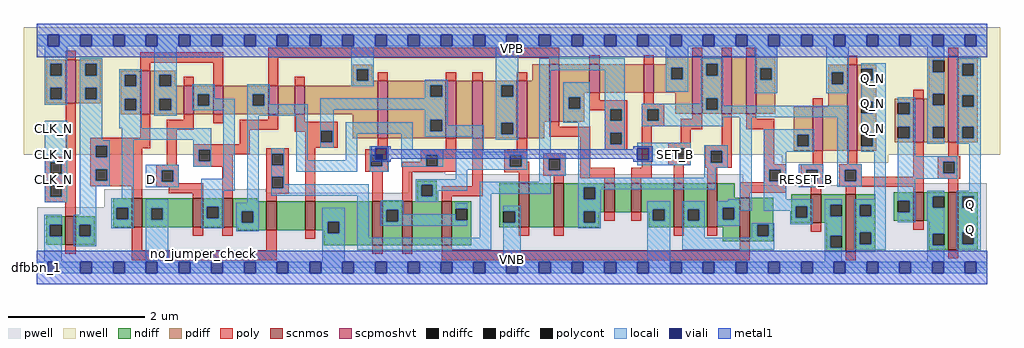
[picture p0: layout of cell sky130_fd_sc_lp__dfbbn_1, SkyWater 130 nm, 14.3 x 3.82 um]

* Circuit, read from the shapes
.subckt sky130_fd_sc_lp__dfbbn_1 CLK_N D RESET_B SET_B VGND VNB VPB VPWR Q Q_N
XM1 n1 CLK_N VGND VNB sky130_fd_pr__nfet_01v8 w=0.42 l=0.15
XM2 VGND n1 n2 VNB sky130_fd_pr__nfet_01v8 w=0.42 l=0.15
XM3 n3 D VGND VNB sky130_fd_pr__nfet_01v8 w=0.42 l=0.15
XM4 n4 n2 n3 VNB sky130_fd_pr__nfet_01v8 w=0.42 l=0.15
XM5 n5 n1 n4 VNB sky130_fd_pr__nfet_01v8 w=0.42 l=0.15
XM6 VGND n6 n5 VNB sky130_fd_pr__nfet_01v8 w=0.42 l=0.15
XM7 n7 SET_B VGND VNB sky130_fd_pr__nfet_01v8 w=0.64 l=0.15
XM8 n6 n4 n7 VNB sky130_fd_pr__nfet_01v8 w=0.64 l=0.15
XM9 n7 n8 n6 VNB sky130_fd_pr__nfet_01v8 w=0.64 l=0.15
XM10 n9 n6 VGND VNB sky130_fd_pr__nfet_01v8 w=0.64 l=0.15
XM11 n10 n1 n9 VNB sky130_fd_pr__nfet_01v8 w=0.64 l=0.15
XM12 n11 n2 n10 VNB sky130_fd_pr__nfet_01v8 w=0.42 l=0.15
XM13 VGND n12 n11 VNB sky130_fd_pr__nfet_01v8 w=0.42 l=0.15
XM14 n13 SET_B VGND VNB sky130_fd_pr__nfet_01v8 w=0.64 l=0.15
XM15 n12 n10 n13 VNB sky130_fd_pr__nfet_01v8 w=0.64 l=0.15
XM16 n13 n8 n12 VNB sky130_fd_pr__nfet_01v8 w=0.64 l=0.15
XM17 VGND RESET_B n8 VNB sky130_fd_pr__nfet_01v8 w=0.42 l=0.15
XM18 Q_N n12 VGND VNB sky130_fd_pr__nfet_01v8 w=0.84 l=0.15
XM19 VGND n12 n14 VNB sky130_fd_pr__nfet_01v8 w=0.42 l=0.15
XM20 Q n14 VGND VNB sky130_fd_pr__nfet_01v8 w=0.84 l=0.15
XM21 n1 CLK_N VPWR VPB sky130_fd_pr__pfet_01v8_hvt w=0.64 l=0.15
XM22 VPWR n1 n2 VPB sky130_fd_pr__pfet_01v8_hvt w=0.64 l=0.15
XM23 n3 D VPWR VPB sky130_fd_pr__pfet_01v8_hvt w=0.42 l=0.15
XM24 n4 n1 n3 VPB sky130_fd_pr__pfet_01v8_hvt w=0.42 l=0.15
XM25 n15 n2 n4 VPB sky130_fd_pr__pfet_01v8_hvt w=0.42 l=0.15
XM26 VPWR n6 n15 VPB sky130_fd_pr__pfet_01v8_hvt w=0.42 l=0.15
XM27 n6 SET_B VPWR VPB sky130_fd_pr__pfet_01v8_hvt w=0.84 l=0.15
XM28 n16 n4 n6 VPB sky130_fd_pr__pfet_01v8_hvt w=0.84 l=0.15
XM29 VPWR n8 n16 VPB sky130_fd_pr__pfet_01v8_hvt w=0.84 l=0.15
XM30 n17 n6 VPWR VPB sky130_fd_pr__pfet_01v8_hvt w=0.84 l=0.15
XM31 n10 n2 n17 VPB sky130_fd_pr__pfet_01v8_hvt w=0.84 l=0.15
XM32 n18 n1 n10 VPB sky130_fd_pr__pfet_01v8_hvt w=0.42 l=0.15
XM33 VPWR n12 n18 VPB sky130_fd_pr__pfet_01v8_hvt w=0.42 l=0.15
XM34 n12 SET_B VPWR VPB sky130_fd_pr__pfet_01v8_hvt w=0.84 l=0.15
XM35 n19 n10 n12 VPB sky130_fd_pr__pfet_01v8_hvt w=0.84 l=0.15
XM36 VPWR n8 n19 VPB sky130_fd_pr__pfet_01v8_hvt w=0.84 l=0.15
XM37 VPWR RESET_B n8 VPB sky130_fd_pr__pfet_01v8_hvt w=0.64 l=0.15
XM38 Q_N n12 VPWR VPB sky130_fd_pr__pfet_01v8_hvt w=1.26 l=0.15
XM39 VPWR n12 n14 VPB sky130_fd_pr__pfet_01v8_hvt w=0.64 l=0.15
XM40 Q n14 VPWR VPB sky130_fd_pr__pfet_01v8_hvt w=1.26 l=0.15
.ends

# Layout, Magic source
magic
tech sky130A
magscale 1 2
<< nwell >>
rect -38 331 2822 704
rect 2182 307 2495 331
<< pwell >>
rect 1089 273 1197 281
rect 1089 241 2070 273
rect 2485 241 2783 247
rect 197 220 672 229
rect 1089 220 2783 241
rect 197 177 2783 220
rect 1 49 2783 177
rect 0 0 2784 49
<< scnmos >>
rect 83 67 113 151
rect 278 119 308 203
rect 457 119 487 203
rect 543 119 573 203
rect 672 110 702 194
rect 786 110 816 194
rect 983 66 1013 194
rect 1070 66 1100 194
rect 1186 66 1216 194
rect 1412 119 1442 247
rect 1514 119 1544 247
rect 1663 163 1693 247
rect 1741 163 1771 247
rect 1866 119 1896 247
rect 1964 119 1994 247
rect 2059 77 2089 205
rect 2268 131 2298 215
rect 2370 47 2400 215
rect 2568 137 2598 221
rect 2670 53 2700 221
<< scpmoshvt >>
rect 84 481 114 609
rect 302 449 332 577
rect 430 449 460 533
rect 516 449 546 533
rect 677 449 707 533
rect 755 449 785 533
rect 998 379 1028 547
rect 1198 379 1228 547
rect 1276 379 1306 547
rect 1406 379 1436 547
rect 1501 428 1531 596
rect 1619 512 1649 596
rect 1778 512 1808 596
rect 1920 451 1950 619
rect 2006 451 2036 619
rect 2078 451 2108 619
rect 2273 343 2303 471
rect 2374 343 2404 595
rect 2568 367 2598 495
rect 2670 367 2700 619
<< ndiff >>
rect 223 176 278 203
rect 27 126 83 151
rect 27 92 38 126
rect 72 92 83 126
rect 27 67 83 92
rect 113 126 169 151
rect 113 92 124 126
rect 158 92 169 126
rect 223 142 233 176
rect 267 142 278 176
rect 223 119 278 142
rect 308 174 457 203
rect 308 140 335 174
rect 369 140 457 174
rect 308 119 457 140
rect 487 178 543 203
rect 487 144 498 178
rect 532 144 543 178
rect 487 119 543 144
rect 573 194 646 203
rect 1115 243 1171 255
rect 1115 209 1126 243
rect 1160 209 1171 243
rect 1115 194 1171 209
rect 573 165 672 194
rect 573 131 600 165
rect 634 131 672 165
rect 573 119 672 131
rect 113 67 169 92
rect 588 110 672 119
rect 702 110 786 194
rect 816 135 983 194
rect 816 110 852 135
rect 840 101 852 110
rect 886 101 983 135
rect 840 66 983 101
rect 1013 169 1070 194
rect 1013 135 1024 169
rect 1058 135 1070 169
rect 1013 66 1070 135
rect 1100 66 1186 194
rect 1216 173 1273 194
rect 1216 139 1227 173
rect 1261 139 1273 173
rect 1216 66 1273 139
rect 1355 165 1412 247
rect 1355 131 1367 165
rect 1401 131 1412 165
rect 1355 119 1412 131
rect 1442 119 1514 247
rect 1544 235 1663 247
rect 1544 201 1602 235
rect 1636 201 1663 235
rect 1544 165 1663 201
rect 1544 131 1602 165
rect 1636 163 1663 165
rect 1693 163 1741 247
rect 1771 171 1866 247
rect 1771 163 1805 171
rect 1636 131 1648 163
rect 1793 137 1805 163
rect 1839 137 1866 171
rect 1544 119 1648 131
rect 1793 119 1866 137
rect 1896 171 1964 247
rect 1896 137 1907 171
rect 1941 137 1964 171
rect 1896 119 1964 137
rect 1994 205 2044 247
rect 1994 175 2059 205
rect 1994 141 2009 175
rect 2043 141 2059 175
rect 1994 119 2059 141
rect 2009 77 2059 119
rect 2089 126 2157 205
rect 2211 180 2268 215
rect 2211 146 2223 180
rect 2257 146 2268 180
rect 2211 131 2268 146
rect 2298 184 2370 215
rect 2298 150 2325 184
rect 2359 150 2370 184
rect 2298 131 2370 150
rect 2089 92 2111 126
rect 2145 92 2157 126
rect 2089 77 2157 92
rect 2313 93 2370 131
rect 2313 59 2325 93
rect 2359 59 2370 93
rect 2313 47 2370 59
rect 2400 185 2457 215
rect 2400 151 2411 185
rect 2445 151 2457 185
rect 2400 103 2457 151
rect 2511 196 2568 221
rect 2511 162 2523 196
rect 2557 162 2568 196
rect 2511 137 2568 162
rect 2598 209 2670 221
rect 2598 175 2625 209
rect 2659 175 2670 209
rect 2598 137 2670 175
rect 2400 69 2411 103
rect 2445 69 2457 103
rect 2400 47 2457 69
rect 2613 99 2670 137
rect 2613 65 2625 99
rect 2659 65 2670 99
rect 2613 53 2670 65
rect 2700 209 2757 221
rect 2700 175 2711 209
rect 2745 175 2757 209
rect 2700 103 2757 175
rect 2700 69 2711 103
rect 2745 69 2757 103
rect 2700 53 2757 69
<< pdiff >>
rect 27 597 84 609
rect 27 563 39 597
rect 73 563 84 597
rect 27 527 84 563
rect 27 493 39 527
rect 73 493 84 527
rect 27 481 84 493
rect 114 597 187 609
rect 114 563 141 597
rect 175 563 187 597
rect 114 527 187 563
rect 114 493 141 527
rect 175 493 187 527
rect 114 481 187 493
rect 245 565 302 577
rect 245 531 257 565
rect 291 531 302 565
rect 245 495 302 531
rect 245 461 257 495
rect 291 461 302 495
rect 245 449 302 461
rect 332 565 405 577
rect 332 531 359 565
rect 393 533 405 565
rect 1847 596 1920 619
rect 925 582 983 594
rect 925 548 937 582
rect 971 548 983 582
rect 925 547 983 548
rect 1451 547 1501 596
rect 925 533 998 547
rect 393 531 430 533
rect 332 495 430 531
rect 332 461 359 495
rect 393 461 430 495
rect 332 449 430 461
rect 460 508 516 533
rect 460 474 471 508
rect 505 474 516 508
rect 460 449 516 474
rect 546 508 677 533
rect 546 474 632 508
rect 666 474 677 508
rect 546 449 677 474
rect 707 449 755 533
rect 785 449 998 533
rect 925 379 998 449
rect 1028 535 1198 547
rect 1028 501 1153 535
rect 1187 501 1198 535
rect 1028 433 1198 501
rect 1028 399 1153 433
rect 1187 399 1198 433
rect 1028 379 1198 399
rect 1228 379 1276 547
rect 1306 535 1406 547
rect 1306 501 1361 535
rect 1395 501 1406 535
rect 1306 425 1406 501
rect 1306 391 1361 425
rect 1395 391 1406 425
rect 1306 379 1406 391
rect 1436 428 1501 547
rect 1531 512 1619 596
rect 1649 512 1778 596
rect 1808 586 1920 596
rect 1808 552 1859 586
rect 1893 552 1920 586
rect 1808 512 1920 552
rect 1531 500 1604 512
rect 1531 466 1558 500
rect 1592 466 1604 500
rect 1531 428 1604 466
rect 1436 379 1486 428
rect 1870 451 1920 512
rect 1950 597 2006 619
rect 1950 563 1961 597
rect 1995 563 2006 597
rect 1950 497 2006 563
rect 1950 463 1961 497
rect 1995 463 2006 497
rect 1950 451 2006 463
rect 2036 451 2078 619
rect 2108 584 2164 619
rect 2613 607 2670 619
rect 2108 550 2119 584
rect 2153 550 2164 584
rect 2108 451 2164 550
rect 2318 572 2374 595
rect 2318 538 2329 572
rect 2363 538 2374 572
rect 2318 471 2374 538
rect 2218 389 2273 471
rect 2218 355 2228 389
rect 2262 355 2273 389
rect 2218 343 2273 355
rect 2303 343 2374 471
rect 2404 583 2459 595
rect 2404 549 2415 583
rect 2449 549 2459 583
rect 2404 486 2459 549
rect 2613 573 2625 607
rect 2659 573 2670 607
rect 2613 510 2670 573
rect 2613 495 2625 510
rect 2404 452 2415 486
rect 2449 452 2459 486
rect 2404 389 2459 452
rect 2404 355 2415 389
rect 2449 355 2459 389
rect 2513 483 2568 495
rect 2513 449 2523 483
rect 2557 449 2568 483
rect 2513 413 2568 449
rect 2513 379 2523 413
rect 2557 379 2568 413
rect 2513 367 2568 379
rect 2598 476 2625 495
rect 2659 476 2670 510
rect 2598 413 2670 476
rect 2598 379 2625 413
rect 2659 379 2670 413
rect 2598 367 2670 379
rect 2700 597 2757 619
rect 2700 563 2711 597
rect 2745 563 2757 597
rect 2700 505 2757 563
rect 2700 471 2711 505
rect 2745 471 2757 505
rect 2700 413 2757 471
rect 2700 379 2711 413
rect 2745 379 2757 413
rect 2700 367 2757 379
rect 2404 343 2459 355
<< ndiffc >>
rect 38 92 72 126
rect 124 92 158 126
rect 233 142 267 176
rect 335 140 369 174
rect 498 144 532 178
rect 1126 209 1160 243
rect 600 131 634 165
rect 852 101 886 135
rect 1024 135 1058 169
rect 1227 139 1261 173
rect 1367 131 1401 165
rect 1602 201 1636 235
rect 1602 131 1636 165
rect 1805 137 1839 171
rect 1907 137 1941 171
rect 2009 141 2043 175
rect 2223 146 2257 180
rect 2325 150 2359 184
rect 2111 92 2145 126
rect 2325 59 2359 93
rect 2411 151 2445 185
rect 2523 162 2557 196
rect 2625 175 2659 209
rect 2411 69 2445 103
rect 2625 65 2659 99
rect 2711 175 2745 209
rect 2711 69 2745 103
<< pdiffc >>
rect 39 563 73 597
rect 39 493 73 527
rect 141 563 175 597
rect 141 493 175 527
rect 257 531 291 565
rect 257 461 291 495
rect 359 531 393 565
rect 937 548 971 582
rect 359 461 393 495
rect 471 474 505 508
rect 632 474 666 508
rect 1153 501 1187 535
rect 1153 399 1187 433
rect 1361 501 1395 535
rect 1361 391 1395 425
rect 1859 552 1893 586
rect 1558 466 1592 500
rect 1961 563 1995 597
rect 1961 463 1995 497
rect 2119 550 2153 584
rect 2329 538 2363 572
rect 2228 355 2262 389
rect 2415 549 2449 583
rect 2625 573 2659 607
rect 2415 452 2449 486
rect 2415 355 2449 389
rect 2523 449 2557 483
rect 2523 379 2557 413
rect 2625 476 2659 510
rect 2625 379 2659 413
rect 2711 563 2745 597
rect 2711 471 2745 505
rect 2711 379 2745 413
<< poly >>
rect 84 609 114 635
rect 302 601 546 631
rect 302 577 332 601
rect 84 325 114 481
rect 430 533 460 559
rect 516 533 546 601
rect 677 615 1531 645
rect 677 533 707 615
rect 1501 596 1531 615
rect 1619 596 1649 622
rect 1778 596 1808 622
rect 1920 619 1950 645
rect 2006 619 2036 645
rect 2078 619 2108 645
rect 755 533 785 559
rect 998 547 1028 573
rect 1198 547 1228 573
rect 1276 547 1306 573
rect 1406 547 1436 573
rect 302 380 332 449
rect 430 434 460 449
rect 23 309 114 325
rect 23 275 39 309
rect 73 275 114 309
rect 23 241 114 275
rect 23 207 39 241
rect 73 207 114 241
rect 156 357 332 380
rect 156 323 172 357
rect 206 350 332 357
rect 380 404 460 434
rect 516 423 546 449
rect 677 434 707 449
rect 594 404 707 434
rect 755 428 785 449
rect 206 323 308 350
rect 156 289 308 323
rect 380 302 410 404
rect 594 362 624 404
rect 755 401 882 428
rect 755 398 832 401
rect 458 346 624 362
rect 786 367 832 398
rect 866 367 882 401
rect 1619 491 1649 512
rect 1619 464 1730 491
rect 1778 480 1808 512
rect 1619 461 1680 464
rect 1664 430 1680 461
rect 1714 430 1730 464
rect 1501 413 1531 428
rect 1501 383 1622 413
rect 786 351 882 367
rect 458 312 474 346
rect 508 332 624 346
rect 672 334 738 350
rect 508 312 573 332
rect 156 255 172 289
rect 206 255 308 289
rect 156 239 308 255
rect 23 191 114 207
rect 278 203 308 239
rect 350 286 416 302
rect 458 296 573 312
rect 350 252 366 286
rect 400 252 416 286
rect 350 248 416 252
rect 350 236 487 248
rect 386 218 487 236
rect 457 203 487 218
rect 543 203 573 296
rect 672 300 688 334
rect 722 300 738 334
rect 672 266 738 300
rect 672 232 688 266
rect 722 232 738 266
rect 672 216 738 232
rect 83 151 113 191
rect 672 194 702 216
rect 786 194 816 351
rect 998 347 1028 379
rect 1198 347 1228 379
rect 962 331 1028 347
rect 962 297 978 331
rect 1012 297 1028 331
rect 1125 331 1228 347
rect 1125 311 1141 331
rect 962 281 1028 297
rect 1070 297 1141 311
rect 1175 297 1228 331
rect 1070 281 1228 297
rect 983 194 1013 281
rect 1070 194 1100 281
rect 1276 239 1306 379
rect 1406 346 1436 379
rect 1370 330 1436 346
rect 1370 296 1386 330
rect 1420 310 1436 330
rect 1484 319 1550 335
rect 1420 296 1442 310
rect 1370 280 1442 296
rect 1412 247 1442 280
rect 1484 285 1500 319
rect 1534 285 1550 319
rect 1484 269 1550 285
rect 1592 292 1622 383
rect 1664 396 1730 430
rect 1664 362 1680 396
rect 1714 362 1730 396
rect 1664 346 1730 362
rect 1772 464 1838 480
rect 1772 430 1788 464
rect 1822 430 1838 464
rect 2374 595 2404 621
rect 2670 619 2700 645
rect 2273 471 2303 497
rect 1920 436 1950 451
rect 1772 414 1838 430
rect 1772 292 1802 414
rect 1886 406 1950 436
rect 1886 366 1916 406
rect 1850 350 1916 366
rect 2006 358 2036 451
rect 2078 436 2108 451
rect 2078 406 2160 436
rect 1850 316 1866 350
rect 1900 316 1916 350
rect 1850 300 1916 316
rect 1958 342 2036 358
rect 1958 308 1974 342
rect 2008 308 2036 342
rect 1514 247 1544 269
rect 1592 262 1693 292
rect 1663 247 1693 262
rect 1741 262 1802 292
rect 1741 247 1771 262
rect 1866 247 1896 300
rect 1958 292 2036 308
rect 2130 303 2160 406
rect 2568 495 2598 521
rect 2273 303 2303 343
rect 2374 303 2404 343
rect 1964 247 1994 292
rect 2130 287 2196 303
rect 2130 253 2146 287
rect 2180 253 2196 287
rect 2130 250 2196 253
rect 1186 209 1306 239
rect 1186 194 1216 209
rect 83 41 113 67
rect 278 51 308 119
rect 457 93 487 119
rect 543 93 573 119
rect 672 51 702 110
rect 786 84 816 110
rect 1663 137 1693 163
rect 1741 137 1771 163
rect 2059 220 2196 250
rect 2238 287 2304 303
rect 2238 253 2254 287
rect 2288 253 2304 287
rect 2238 237 2304 253
rect 2351 287 2417 303
rect 2351 253 2367 287
rect 2401 267 2417 287
rect 2568 267 2598 367
rect 2670 327 2700 367
rect 2401 253 2598 267
rect 2640 311 2706 327
rect 2640 277 2656 311
rect 2690 277 2706 311
rect 2640 261 2706 277
rect 2351 237 2598 253
rect 2059 205 2089 220
rect 2268 215 2298 237
rect 2370 215 2400 237
rect 2568 221 2598 237
rect 2670 221 2700 261
rect 1412 93 1442 119
rect 1514 93 1544 119
rect 1866 93 1896 119
rect 1964 93 1994 119
rect 2268 105 2298 131
rect 278 21 702 51
rect 983 40 1013 66
rect 1070 40 1100 66
rect 1186 51 1216 66
rect 2059 51 2089 77
rect 1186 21 2089 51
rect 2568 111 2598 137
rect 2370 21 2400 47
rect 2670 27 2700 53
<< polycont >>
rect 39 275 73 309
rect 39 207 73 241
rect 172 323 206 357
rect 832 367 866 401
rect 1680 430 1714 464
rect 474 312 508 346
rect 172 255 206 289
rect 366 252 400 286
rect 688 300 722 334
rect 688 232 722 266
rect 978 297 1012 331
rect 1141 297 1175 331
rect 1386 296 1420 330
rect 1500 285 1534 319
rect 1680 362 1714 396
rect 1788 430 1822 464
rect 1866 316 1900 350
rect 1974 308 2008 342
rect 2146 253 2180 287
rect 2254 253 2288 287
rect 2367 253 2401 287
rect 2656 277 2690 311
<< locali >>
rect 0 649 31 683
rect 65 649 127 683
rect 161 649 223 683
rect 257 649 319 683
rect 353 649 415 683
rect 449 649 511 683
rect 545 649 607 683
rect 641 649 703 683
rect 737 649 799 683
rect 833 649 895 683
rect 929 649 991 683
rect 1025 649 1087 683
rect 1121 649 1183 683
rect 1217 649 1279 683
rect 1313 649 1375 683
rect 1409 649 1471 683
rect 1505 649 1567 683
rect 1601 649 1663 683
rect 1697 649 1759 683
rect 1793 649 1855 683
rect 1889 649 1951 683
rect 1985 649 2047 683
rect 2081 649 2143 683
rect 2177 649 2239 683
rect 2273 649 2335 683
rect 2369 649 2431 683
rect 2465 649 2527 683
rect 2561 649 2623 683
rect 2657 649 2719 683
rect 2753 649 2784 683
rect 23 597 89 649
rect 23 563 39 597
rect 73 563 89 597
rect 23 527 89 563
rect 23 493 39 527
rect 73 493 89 527
rect 23 477 89 493
rect 125 597 191 613
rect 125 563 141 597
rect 175 563 191 597
rect 125 527 191 563
rect 125 493 141 527
rect 175 493 191 527
rect 23 309 89 430
rect 23 275 39 309
rect 73 275 89 309
rect 23 241 89 275
rect 23 207 39 241
rect 73 207 89 241
rect 23 191 89 207
rect 125 373 191 493
rect 241 565 307 581
rect 241 531 257 565
rect 291 531 307 565
rect 241 495 307 531
rect 241 461 257 495
rect 291 461 307 495
rect 241 409 307 461
rect 343 565 409 649
rect 343 531 359 565
rect 393 531 409 565
rect 921 582 987 649
rect 921 548 937 582
rect 971 548 987 582
rect 343 495 409 531
rect 343 461 359 495
rect 393 461 409 495
rect 455 508 521 537
rect 455 474 471 508
rect 505 495 521 508
rect 616 508 682 537
rect 921 532 987 548
rect 1137 535 1203 551
rect 505 474 580 495
rect 455 461 580 474
rect 343 445 409 461
rect 249 375 510 409
rect 125 357 213 373
rect 125 323 172 357
rect 206 323 213 357
rect 125 289 213 323
rect 125 255 172 289
rect 206 255 213 289
rect 125 239 213 255
rect 125 155 174 239
rect 249 203 283 375
rect 458 346 510 375
rect 458 312 474 346
rect 508 312 510 346
rect 319 286 416 302
rect 458 296 510 312
rect 319 252 366 286
rect 400 252 416 286
rect 546 260 580 461
rect 319 236 416 252
rect 22 126 72 155
rect 22 92 38 126
rect 22 17 72 92
rect 108 126 174 155
rect 108 92 124 126
rect 158 92 174 126
rect 217 176 283 203
rect 482 226 580 260
rect 616 474 632 508
rect 666 479 682 508
rect 1137 501 1153 535
rect 1187 501 1203 535
rect 1137 496 1203 501
rect 666 474 794 479
rect 616 445 794 474
rect 217 142 233 176
rect 267 142 283 176
rect 217 115 283 142
rect 319 174 385 200
rect 319 140 335 174
rect 369 140 385 174
rect 108 63 174 92
rect 319 17 385 140
rect 482 178 548 226
rect 616 190 650 445
rect 686 334 724 350
rect 686 300 688 334
rect 722 300 724 334
rect 686 266 724 300
rect 760 315 794 445
rect 830 462 1203 496
rect 830 401 869 462
rect 1137 433 1203 462
rect 830 367 832 401
rect 866 367 869 401
rect 830 351 869 367
rect 905 392 1101 426
rect 905 315 939 392
rect 760 281 939 315
rect 975 350 1031 356
rect 975 331 991 350
rect 975 297 978 331
rect 1025 316 1031 350
rect 1012 297 1031 316
rect 975 281 1031 297
rect 1067 347 1101 392
rect 1137 399 1153 433
rect 1187 417 1203 433
rect 1345 535 1411 649
rect 1345 501 1361 535
rect 1395 501 1411 535
rect 1345 425 1411 501
rect 1187 399 1309 417
rect 1137 383 1309 399
rect 1067 331 1191 347
rect 1275 339 1309 383
rect 1345 391 1361 425
rect 1395 391 1411 425
rect 1345 375 1411 391
rect 1472 579 1723 613
rect 1067 297 1141 331
rect 1175 297 1191 331
rect 1067 295 1191 297
rect 1227 330 1436 339
rect 1227 296 1386 330
rect 1420 296 1436 330
rect 1227 287 1436 296
rect 1472 335 1506 579
rect 1542 500 1620 543
rect 1542 466 1558 500
rect 1592 466 1620 500
rect 1542 424 1620 466
rect 1472 319 1550 335
rect 686 232 688 266
rect 722 245 724 266
rect 1227 259 1261 287
rect 722 232 972 245
rect 686 211 972 232
rect 482 144 498 178
rect 532 144 548 178
rect 482 115 548 144
rect 584 165 650 190
rect 584 131 600 165
rect 634 131 650 165
rect 584 106 650 131
rect 836 135 902 175
rect 836 101 852 135
rect 886 101 902 135
rect 836 17 902 101
rect 938 87 972 211
rect 1110 243 1261 259
rect 1472 285 1500 319
rect 1534 285 1550 319
rect 1472 269 1550 285
rect 1472 251 1506 269
rect 1110 209 1126 243
rect 1160 225 1261 243
rect 1160 209 1176 225
rect 1008 169 1074 198
rect 1110 193 1176 209
rect 1297 217 1506 251
rect 1586 264 1620 424
rect 1664 464 1723 579
rect 1843 586 1909 649
rect 1843 552 1859 586
rect 1893 552 1909 586
rect 1843 516 1909 552
rect 1945 597 2011 613
rect 1945 563 1961 597
rect 1995 563 2011 597
rect 1945 497 2011 563
rect 2103 584 2169 649
rect 2103 550 2119 584
rect 2153 550 2169 584
rect 2103 511 2169 550
rect 2313 572 2379 649
rect 2609 607 2659 649
rect 2313 538 2329 572
rect 2363 538 2379 572
rect 2313 511 2379 538
rect 2415 583 2487 599
rect 2449 549 2487 583
rect 1945 480 1961 497
rect 1664 430 1680 464
rect 1714 430 1723 464
rect 1664 396 1723 430
rect 1772 464 1961 480
rect 1772 430 1788 464
rect 1822 463 1961 464
rect 1995 475 2011 497
rect 2415 486 2487 549
rect 2609 573 2625 607
rect 2609 510 2659 573
rect 1995 463 2379 475
rect 1822 441 2379 463
rect 1822 430 2011 441
rect 1772 414 2011 430
rect 1664 362 1680 396
rect 1714 362 1723 396
rect 1664 346 1723 362
rect 1759 350 1916 366
rect 1793 316 1866 350
rect 1900 316 1916 350
rect 1759 300 1916 316
rect 1955 342 2024 358
rect 1955 308 1974 342
rect 2008 308 2024 342
rect 1955 292 2024 308
rect 1955 264 1989 292
rect 1586 235 1989 264
rect 1008 135 1024 169
rect 1058 157 1074 169
rect 1227 173 1261 189
rect 1058 139 1227 157
rect 1058 135 1261 139
rect 1008 123 1261 135
rect 1297 87 1331 217
rect 1586 201 1602 235
rect 1636 230 1989 235
rect 1636 201 1652 230
rect 938 53 1331 87
rect 1367 165 1417 181
rect 1401 131 1417 165
rect 1367 17 1417 131
rect 1586 165 1652 201
rect 2060 200 2094 441
rect 2025 194 2094 200
rect 1586 131 1602 165
rect 1636 131 1652 165
rect 1586 115 1652 131
rect 1789 171 1855 194
rect 1789 137 1805 171
rect 1839 137 1855 171
rect 1789 17 1855 137
rect 1891 171 1957 194
rect 1891 137 1907 171
rect 1941 137 1957 171
rect 1891 87 1957 137
rect 1993 175 2094 194
rect 1993 141 2009 175
rect 2043 166 2094 175
rect 2130 389 2278 405
rect 2130 355 2228 389
rect 2262 355 2278 389
rect 2130 339 2278 355
rect 2130 287 2196 339
rect 2345 303 2379 441
rect 2449 452 2487 486
rect 2415 389 2487 452
rect 2449 355 2487 389
rect 2415 339 2487 355
rect 2130 253 2146 287
rect 2180 253 2196 287
rect 2130 200 2196 253
rect 2233 287 2304 303
rect 2233 253 2254 287
rect 2288 253 2304 287
rect 2233 236 2304 253
rect 2345 287 2417 303
rect 2345 253 2367 287
rect 2401 253 2417 287
rect 2345 237 2417 253
rect 2453 201 2487 339
rect 2130 180 2273 200
rect 2130 166 2223 180
rect 2043 141 2059 166
rect 1993 123 2059 141
rect 2207 146 2223 166
rect 2257 146 2273 180
rect 2095 126 2161 130
rect 2207 127 2273 146
rect 2309 184 2359 200
rect 2309 150 2325 184
rect 2095 92 2111 126
rect 2145 92 2161 126
rect 2095 87 2161 92
rect 1891 53 2161 87
rect 2309 93 2359 150
rect 2309 59 2325 93
rect 2309 17 2359 59
rect 2395 185 2487 201
rect 2395 151 2411 185
rect 2445 151 2487 185
rect 2395 103 2487 151
rect 2523 483 2573 499
rect 2557 449 2573 483
rect 2523 413 2573 449
rect 2557 379 2573 413
rect 2523 327 2573 379
rect 2609 476 2625 510
rect 2609 413 2659 476
rect 2609 379 2625 413
rect 2609 363 2659 379
rect 2695 597 2766 613
rect 2695 563 2711 597
rect 2745 563 2766 597
rect 2695 505 2766 563
rect 2695 471 2711 505
rect 2745 471 2766 505
rect 2695 413 2766 471
rect 2695 379 2711 413
rect 2745 379 2766 413
rect 2695 363 2766 379
rect 2523 311 2696 327
rect 2523 277 2656 311
rect 2690 277 2696 311
rect 2523 261 2696 277
rect 2523 196 2573 261
rect 2732 225 2766 363
rect 2557 162 2573 196
rect 2523 133 2573 162
rect 2609 209 2659 225
rect 2609 175 2625 209
rect 2395 69 2411 103
rect 2445 69 2487 103
rect 2395 53 2487 69
rect 2609 99 2659 175
rect 2609 65 2625 99
rect 2609 17 2659 65
rect 2695 209 2766 225
rect 2695 175 2711 209
rect 2745 175 2766 209
rect 2695 103 2766 175
rect 2695 69 2711 103
rect 2745 69 2766 103
rect 2695 53 2766 69
rect 0 -17 31 17
rect 65 -17 127 17
rect 161 -17 223 17
rect 257 -17 319 17
rect 353 -17 415 17
rect 449 -17 511 17
rect 545 -17 607 17
rect 641 -17 703 17
rect 737 -17 799 17
rect 833 -17 895 17
rect 929 -17 991 17
rect 1025 -17 1087 17
rect 1121 -17 1183 17
rect 1217 -17 1279 17
rect 1313 -17 1375 17
rect 1409 -17 1471 17
rect 1505 -17 1567 17
rect 1601 -17 1663 17
rect 1697 -17 1759 17
rect 1793 -17 1855 17
rect 1889 -17 1951 17
rect 1985 -17 2047 17
rect 2081 -17 2143 17
rect 2177 -17 2239 17
rect 2273 -17 2335 17
rect 2369 -17 2431 17
rect 2465 -17 2527 17
rect 2561 -17 2623 17
rect 2657 -17 2719 17
rect 2753 -17 2784 17
<< viali >>
rect 31 649 65 683
rect 127 649 161 683
rect 223 649 257 683
rect 319 649 353 683
rect 415 649 449 683
rect 511 649 545 683
rect 607 649 641 683
rect 703 649 737 683
rect 799 649 833 683
rect 895 649 929 683
rect 991 649 1025 683
rect 1087 649 1121 683
rect 1183 649 1217 683
rect 1279 649 1313 683
rect 1375 649 1409 683
rect 1471 649 1505 683
rect 1567 649 1601 683
rect 1663 649 1697 683
rect 1759 649 1793 683
rect 1855 649 1889 683
rect 1951 649 1985 683
rect 2047 649 2081 683
rect 2143 649 2177 683
rect 2239 649 2273 683
rect 2335 649 2369 683
rect 2431 649 2465 683
rect 2527 649 2561 683
rect 2623 649 2657 683
rect 2719 649 2753 683
rect 991 331 1025 350
rect 991 316 1012 331
rect 1012 316 1025 331
rect 1759 316 1793 350
rect 31 -17 65 17
rect 127 -17 161 17
rect 223 -17 257 17
rect 319 -17 353 17
rect 415 -17 449 17
rect 511 -17 545 17
rect 607 -17 641 17
rect 703 -17 737 17
rect 799 -17 833 17
rect 895 -17 929 17
rect 991 -17 1025 17
rect 1087 -17 1121 17
rect 1183 -17 1217 17
rect 1279 -17 1313 17
rect 1375 -17 1409 17
rect 1471 -17 1505 17
rect 1567 -17 1601 17
rect 1663 -17 1697 17
rect 1759 -17 1793 17
rect 1855 -17 1889 17
rect 1951 -17 1985 17
rect 2047 -17 2081 17
rect 2143 -17 2177 17
rect 2239 -17 2273 17
rect 2335 -17 2369 17
rect 2431 -17 2465 17
rect 2527 -17 2561 17
rect 2623 -17 2657 17
rect 2719 -17 2753 17
<< metal1 >>
rect 0 683 2784 715
rect 0 649 31 683
rect 65 649 127 683
rect 161 649 223 683
rect 257 649 319 683
rect 353 649 415 683
rect 449 649 511 683
rect 545 649 607 683
rect 641 649 703 683
rect 737 649 799 683
rect 833 649 895 683
rect 929 649 991 683
rect 1025 649 1087 683
rect 1121 649 1183 683
rect 1217 649 1279 683
rect 1313 649 1375 683
rect 1409 649 1471 683
rect 1505 649 1567 683
rect 1601 649 1663 683
rect 1697 649 1759 683
rect 1793 649 1855 683
rect 1889 649 1951 683
rect 1985 649 2047 683
rect 2081 649 2143 683
rect 2177 649 2239 683
rect 2273 649 2335 683
rect 2369 649 2431 683
rect 2465 649 2527 683
rect 2561 649 2623 683
rect 2657 649 2719 683
rect 2753 649 2784 683
rect 0 617 2784 649
rect 979 350 1037 356
rect 979 316 991 350
rect 1025 347 1037 350
rect 1747 350 1805 356
rect 1747 347 1759 350
rect 1025 319 1759 347
rect 1025 316 1037 319
rect 979 310 1037 316
rect 1747 316 1759 319
rect 1793 316 1805 350
rect 1747 310 1805 316
rect 0 17 2784 49
rect 0 -17 31 17
rect 65 -17 127 17
rect 161 -17 223 17
rect 257 -17 319 17
rect 353 -17 415 17
rect 449 -17 511 17
rect 545 -17 607 17
rect 641 -17 703 17
rect 737 -17 799 17
rect 833 -17 895 17
rect 929 -17 991 17
rect 1025 -17 1087 17
rect 1121 -17 1183 17
rect 1217 -17 1279 17
rect 1313 -17 1375 17
rect 1409 -17 1471 17
rect 1505 -17 1567 17
rect 1601 -17 1663 17
rect 1697 -17 1759 17
rect 1793 -17 1855 17
rect 1889 -17 1951 17
rect 1985 -17 2047 17
rect 2081 -17 2143 17
rect 2177 -17 2239 17
rect 2273 -17 2335 17
rect 2369 -17 2431 17
rect 2465 -17 2527 17
rect 2561 -17 2623 17
rect 2657 -17 2719 17
rect 2753 -17 2784 17
rect 0 -49 2784 -17
<< labels >>
flabel pwell s 0 0 2784 49 0 FreeSans 200 0 0 0 VNB
port 6 nsew ground bidirectional
flabel nwell s 0 617 2784 666 0 FreeSans 200 0 0 0 VPB
port 7 nsew power bidirectional
rlabel comment s 0 0 0 0 4 dfbbn_1
flabel comment s 488 40 488 40 0 FreeSans 200 0 0 0 no_jumper_check
flabel metal1 s 0 617 2784 666 0 FreeSans 340 0 0 0 VPWR
port 8 nsew power bidirectional
flabel metal1 s 0 0 2784 49 0 FreeSans 340 0 0 0 VGND
port 5 nsew ground bidirectional
flabel locali s 2431 390 2465 424 0 FreeSans 340 0 0 0 Q_N
port 10 nsew signal output
flabel locali s 2431 464 2465 498 0 FreeSans 340 0 0 0 Q_N
port 10 nsew signal output
flabel locali s 2431 538 2465 572 0 FreeSans 340 0 0 0 Q_N
port 10 nsew signal output
flabel locali s 31 242 65 276 0 FreeSans 340 0 0 0 CLK_N
port 1 nsew clock input
flabel locali s 31 316 65 350 0 FreeSans 340 0 0 0 CLK_N
port 1 nsew clock input
flabel locali s 31 390 65 424 0 FreeSans 340 0 0 0 CLK_N
port 1 nsew clock input
flabel locali s 2719 94 2753 128 0 FreeSans 340 0 0 0 Q
port 9 nsew signal output
flabel locali s 2719 168 2753 202 0 FreeSans 340 0 0 0 Q
port 9 nsew signal output
flabel locali s 2239 242 2273 276 0 FreeSans 340 0 0 0 RESET_B
port 3 nsew signal input
flabel locali s 319 242 353 276 0 FreeSans 340 0 0 0 D
port 2 nsew signal input
flabel locali s 1855 316 1889 350 0 FreeSans 340 0 0 0 SET_B
port 4 nsew signal input
<< properties >>
string LEFsite unit
string LEFclass CORE
string FIXED_BBOX 0 0 2784 666
string GDS_FILE $PDKPATH/libs.ref/sky130_fd_sc_lp/gds/sky130_fd_sc_lp.gds
string LEFsymmetry X Y R90
string GDS_END 2133236
string GDS_START 2113988
<< end >>
